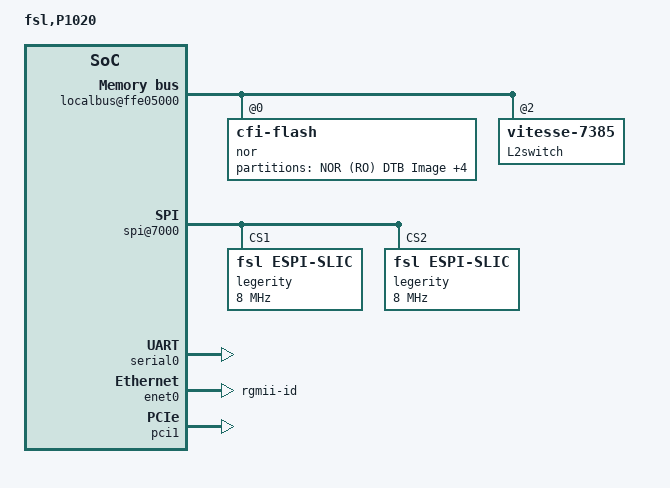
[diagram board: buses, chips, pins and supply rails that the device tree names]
/*
 * P1020 MBG Core1 Device Tree Source in CAMP mode.
 *
 * In CAMP mode, each core needs to have its own dts. Only mpic and L2 cache
 * can be shared, all the other devices must be assigned to one core only.
 * This dts allows core1 to have localbus, spi, serial1, dma, eth0, crypto, pci1.
 *
 * Please note to add "-b 1" for core1's dts compiling.
 *
 * Copyright 2011 Freescale Semiconductor Inc.
 *
 * This program is free software; you can redistribute  it and/or modify it
 * under  the terms of  the GNU General  Public License as published by the
 * Free Software Foundation;  either version 2 of the  License, or (at your
 * option) any later version.
 */

/dts-v1/;
/ {
	model = "fsl,P1020";
	compatible = "fsl,P1020MBG";
	#address-cells = <2>;
	#size-cells = <2>;

	aliases {
		serial0 = &serial0;
		ethernet0 = &enet0;
		pci1 = &pci1;
	};

	cpus {
		#address-cells = <1>;
		#size-cells = <0>;

		PowerPC,P1020@1 {
			device_type = "cpu";
			reg = <0x1>;
			next-level-cache = <&L2>;
		};
	};

	memory {
		device_type = "memory";
	};

	localbus@ffe05000 {
		#address-cells = <2>;
		#size-cells = <1>;
		compatible = "fsl,p1020-elbc", "fsl,elbc", "simple-bus";
		reg = <0 0xffe05000 0 0x1000>;
		interrupts = <19 2>;
		interrupt-parent = <&mpic>;

		/* NOR, NAND Flashes and Vitesse 5 port L2 switch */
		ranges = <0x0 0x0 0x0 0xec000000 0x04000000
			  0x1 0x0 0x0 0xffa00000 0x00040000
			  0x2 0x0 0x0 0xffb00000 0x00020000>;

		nor@0,0 {
			#address-cells = <1>;
			#size-cells = <1>;
			compatible = "cfi-flash";
			reg = <0x0 0x0 0x4000000>;
			bank-width = <2>;
			device-width = <1>;

			partition@0 {
				/* 128KB for DTB Image */
				reg = <0x0 0x00020000>;
				label = "NOR (RO) DTB Image";
				read-only;
			};

			partition@20000 {
				/* 3.875 MB for Linux Kernel Image */
				reg = <0x00020000 0x003e0000>;
				label = "NOR (RO) Linux Kernel Image";
				read-only;
			};

			partition@400000 {
				/* 58MB for Root file System */
				reg = <0x00400000 0x03a00000>;
				label = "NOR (RW) Root File System";
			};

			partition@3e00000 {
				/* This location must not be altered  */
				/* 1M for Vitesse 7385 Switch firmware */
				reg = <0x3e00000 0x00100000>;
				label = "NOR (RO) Vitesse-7385 Firmware";
				read-only;
			};

			partition@3f00000 {
				/* This location must not be altered  */
				/* 512KB for u-boot Bootloader Image */
				/* 512KB for u-boot Environment Variables */
				reg = <0x03f00000 0x00100000>;
				label = "NOR (RO) U-Boot Image";
				read-only;
			};
		};

		L2switch@2,0 {
			#address-cells = <1>;
			#size-cells = <1>;
			compatible = "vitesse-7385";
			reg = <0x2 0x0 0x20000>;
		};

	};

	soc@ffe00000 {
		#address-cells = <1>;
		#size-cells = <1>;
		device_type = "soc";
		compatible = "fsl,p1020-immr", "simple-bus";
		ranges = <0x0  0x0 0xffe00000 0x100000>;
		bus-frequency = <0>;		// Filled out by uboot.

		spi@7000 {
			#address-cells = <1>;
			#size-cells = <0>;
			compatible = "fsl,espi";
			reg = <0x7000 0x1000>;
			interrupts = <59 0x2>;
			interrupt-parent = <&mpic>;
			espi,num-ss-bits = <4>;

			legerity@0{
				compatible = "fsl,espi-slic";
				reg = <1>;
				linux,modalias = "legerity";
				spi-max-frequency = <8000000>;
				ch1-rx-slot = <0>;
				ch1-tx-slot = <0>;
				ch2-rx-slot = <2>;
				ch2-tx-slot = <2>;
			};

			legerity@1{
				compatible = "fsl,espi-slic";
				reg = <2>;
				linux,modalias = "legerity";
				spi-max-frequency = <8000000>;
				ch1-rx-slot = <4>;
				ch1-tx-slot = <4>;
				ch2-rx-slot = <6>;
				ch2-tx-slot = <6>;
			};
		};

		serial0: serial@4600 {
			device_type = "serial";
			compatible = "ns16550";
			reg = <0x4600 0x100>;
			clock-frequency = <0>;
		};

		L2: l2-cache-controller@20000 {
			compatible = "fsl,p1020-l2-cache-controller";
			reg = <0x20000 0x1000>;
			cache-line-size = <32>;	// 32 bytes
			cache-size = <0x40000>; // L2,256K
			interrupt-parent = <&mpic>;
		};

		dma@21300 {
			#address-cells = <1>;
			#size-cells = <1>;
			compatible = "fsl,eloplus-dma";
			reg = <0x21300 0x4>;
			ranges = <0x0 0x21100 0x200>;
			cell-index = <0>;
			dma-channel@0 {
				compatible = "fsl,eloplus-dma-channel";
				reg = <0x0 0x80>;
				cell-index = <0>;
				interrupt-parent = <&mpic>;
				interrupts = <20 2>;
			};
			dma-channel@80 {
				compatible = "fsl,eloplus-dma-channel";
				reg = <0x80 0x80>;
				cell-index = <1>;
				interrupt-parent = <&mpic>;
				interrupts = <21 2>;
			};
			dma-channel@100 {
				compatible = "fsl,eloplus-dma-channel";
				reg = <0x100 0x80>;
				cell-index = <2>;
				interrupt-parent = <&mpic>;
				interrupts = <22 2>;
			};
			dma-channel@180 {
				compatible = "fsl,eloplus-dma-channel";
				reg = <0x180 0x80>;
				cell-index = <3>;
				interrupt-parent = <&mpic>;
				interrupts = <23 2>;
			};
		};

		enet0: ethernet@b0000 {
			#address-cells = <1>;
			#size-cells = <1>;
			device_type = "network";
			model = "eTSEC";
			compatible = "fsl,etsec2";
			fsl,num_rx_queues = <0x8>;
			fsl,num_tx_queues = <0x8>;
			local-mac-address = [ 00 00 00 00 00 00 ];
			interrupt-parent = <&mpic>;
			fixed-link = <1 1 1000 0 0>;
			phy-connection-type = "rgmii-id";

			queue-group@0 {
				#address-cells = <1>;
				#size-cells = <1>;
				reg = <0xb0000 0x1000>;
				interrupts = <29 2 30 2 34 2>;
			};

			queue-group@1 {
				#address-cells = <1>;
				#size-cells = <1>;
				reg = <0xb4000 0x1000>;
				interrupts = <17 2 18 2 24 2>;
			};
		};

		crypto@30000 {
			compatible = "fsl,sec3.3", "fsl,sec3.1",
				     "fsl,sec3.0", "fsl,sec2.4",
				     "fsl,sec2.2", "fsl,sec2.1", "fsl,sec2.0";
			reg = <0x30000 0x10000>;
			interrupts = <45 2 58 2>;
			interrupt-parent = <&mpic>;
			fsl,num-channels = <4>;
			fsl,channel-fifo-len = <24>;
			fsl,exec-units-mask = <0x97c>;
			fsl,descriptor-types-mask = <0x3a30abf>;
			fsl,multi-host-mode = "primary";
			fsl,channel-remap = <0x3>;
		};

		mpic: pic@40000 {
			interrupt-controller;
			#address-cells = <0>;
			#interrupt-cells = <2>;
			reg = <0x40000 0x40000>;
			compatible = "chrp,open-pic";
			device_type = "open-pic";
			protected-sources = <
			16				/* ecm, mem, L2 */
			43 42			/* i2c, serial0 */
			47 63 62		/* gpio, tdm */
			01 02			/* mdio */
			35 36 40		/* enet1-queue-group0 */
			51 52 67		/* enet1-queue-group1 */
			31 32 33		/* enet2-queue-group0 */
			25 26 27		/* enet2-queue-group1 */
			28 72 58		/* usb, sdhci, crypto */
			04 05 06 07		/* pci0 */
			0xb0 0xb1 0xb2	/* message */
			0xb3 0xb4 0xb5
			0xb6 0xb7
			0xe0 0xe1 0xe2	/* msi */
			0xe3 0xe4 0xe5
			0xe6 0xe7
			68 69 70	    /* ptp_timer */
			>;
		};
	};

	pci1: pcie@ffe0a000 {
		cell-index = <2>;
		compatible = "fsl,mpc8548-pcie";
		device_type = "pci";
		#interrupt-cells = <1>;
		#size-cells = <2>;
		#address-cells = <3>;
		reg = <0 0xffe0a000 0 0x1000>;
		bus-range = <0 255>;
		ranges = <0x2000000 0x0 0x80000000 0 0x80000000 0x0 0x20000000
			  0x1000000 0x0 0x00000000 0 0xffc00000 0x0 0x10000>;
		clock-frequency = <33333333>;
		interrupt-parent = <&mpic>;
		interrupts = <16 2>;
		interrupt-map-mask = <0xf800 0x0 0x0 0x7>;
		interrupt-map = <
			/* IDSEL 0x0 */
			0000 0x0 0x0 0x1 &mpic 0x0 0x1
			0000 0x0 0x0 0x2 &mpic 0x1 0x1
			0000 0x0 0x0 0x3 &mpic 0x2 0x1
			0000 0x0 0x0 0x4 &mpic 0x3 0x1
			>;
		pcie@0 {
			reg = <0x0 0x0 0x0 0x0 0x0>;
			#size-cells = <2>;
			#address-cells = <3>;
			device_type = "pci";
			ranges = <0x2000000 0x0 0x80000000
				  0x2000000 0x0 0x80000000
				  0x0 0x20000000

				  0x1000000 0x0 0x0
				  0x1000000 0x0 0x0
				  0x0 0x100000>;
		};
	};
};
